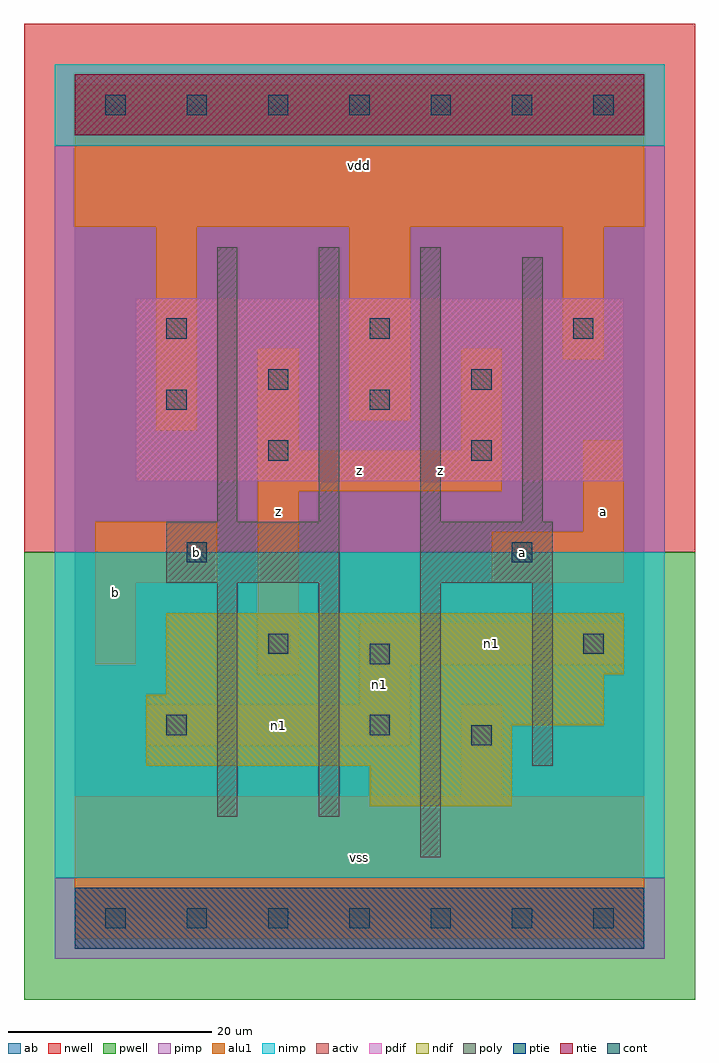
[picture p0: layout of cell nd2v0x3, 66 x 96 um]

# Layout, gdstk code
import gdstk
lib = gdstk.Library(unit=1e-6, precision=1e-09)
def R(c, l, rs):  # rectangles x0, y0, x1, y1
    for r in rs: c.add(gdstk.rectangle(r[:2], r[2:], *l))
def A(c, l, x, y, w, h, nx, ny, dx, dy):  # array of equal rectangles
    R(c, l, [(x+i*dx, y+j*dy, x+i*dx+w, y+j*dy+h) for i in range(nx) for j in range(ny)])
ndif = (3, 0)
pdif = (4, 0)
ntie = (5, 0)
ptie = (6, 0)
cont = (25, 0)
pwell = (41, 0)
nwell = (42, 0)
activ = (43, 0)
pimp = (44, 0)
nimp = (45, 0)
poly = (46, 0)
alu1 = (49, 0)
ab = (63, 0)

nd2v0x3 = lib.new_cell('nd2v0x3')
R(nd2v0x3, ndif, [(29,11,43,15), (7,15,43,19), (7,19,52,22), (9,22,52,24), (9,24,54,30)])
R(nd2v0x3, pdif, [(6,43,54,61)])
R(nd2v0x3, ntie, [(0,77,56,83)])
R(nd2v0x3, ptie, [(0,-3,56,3)])
A(nd2v0x3, cont, 3, -1, 2, 2, 7, 2, 8, 80)
A(nd2v0x3, cont, 9, 57, 2, 2, 3, 1, 20, 0)
R(nd2v0x3, cont, [(39,17,41,19), (9,18,11,20), (29,18,31,20), (29,25,31,27), (19,26,21,28), (50,26,52,28), (11,35,13,37), (43,35,45,37), (19,45,21,47), (39,45,41,47), (9,50,11,52), (29,50,31,52), (19,52,21,54), (39,52,41,54)])
R(nd2v0x3, pwell, [(-5,-8,61,36)])
R(nd2v0x3, nwell, [(-5,36,61,88)])
R(nd2v0x3, activ, [(0,-3,56,3), (29,11,43,15), (7,15,43,19), (7,19,52,22), (9,22,52,24), (9,24,54,30), (6,43,54,61), (0,77,56,83)])
R(nd2v0x3, pimp, [(-2,-4,58,4), (-2,36,58,76)])
R(nd2v0x3, nimp, [(-2,4,58,36), (-2,76,58,84)])
A(nd2v0x3, poly, 14, 39, 2, 27, 3, 1, 10, 0)
R(nd2v0x3, poly, [(34,6,36,33), (14,10,16,33), (24,10,26,33), (45,15,47,33), (9,33,26,39), (34,33,47,39), (44,39,46,65)])
R(nd2v0x3, alu1, [(0,-2,56,12), (38,12,42,21), (7,17,33,21), (28,21,33,25), (18,24,22,42), (2,25,6,33), (28,25,54,29), (2,33,14,39), (41,33,54,38), (50,38,54,47), (18,42,42,46), (18,46,22,56), (38,46,42,56), (8,48,12,68), (27,49,33,68), (48,55,52,68), (0,68,56,82)])
R(nd2v0x3, ab, [(0,0,56,80)])
nd2v0x3.add(gdstk.Label('n1', (30,23), layer=49, texttype=0))
nd2v0x3.add(gdstk.Label('n1', (20,19), layer=49, texttype=0))
nd2v0x3.add(gdstk.Label('n1', (41,27), layer=49, texttype=0))
nd2v0x3.add(gdstk.Label('b', (4,32), layer=49, texttype=0))
nd2v0x3.add(gdstk.Label('b', (12,36), layer=49, texttype=0))
nd2v0x3.add(gdstk.Label('z', (20,40), layer=49, texttype=0))
nd2v0x3.add(gdstk.Label('vss', (28,6), layer=49, texttype=0))
nd2v0x3.add(gdstk.Label('z', (36,44), layer=49, texttype=0))
nd2v0x3.add(gdstk.Label('z', (28,44), layer=49, texttype=0))
nd2v0x3.add(gdstk.Label('vdd', (28,74), layer=49, texttype=0))
nd2v0x3.add(gdstk.Label('a', (44,36), layer=49, texttype=0))
nd2v0x3.add(gdstk.Label('a', (52,40), layer=49, texttype=0))

lib.write_gds('nd2v0x3.gds')
